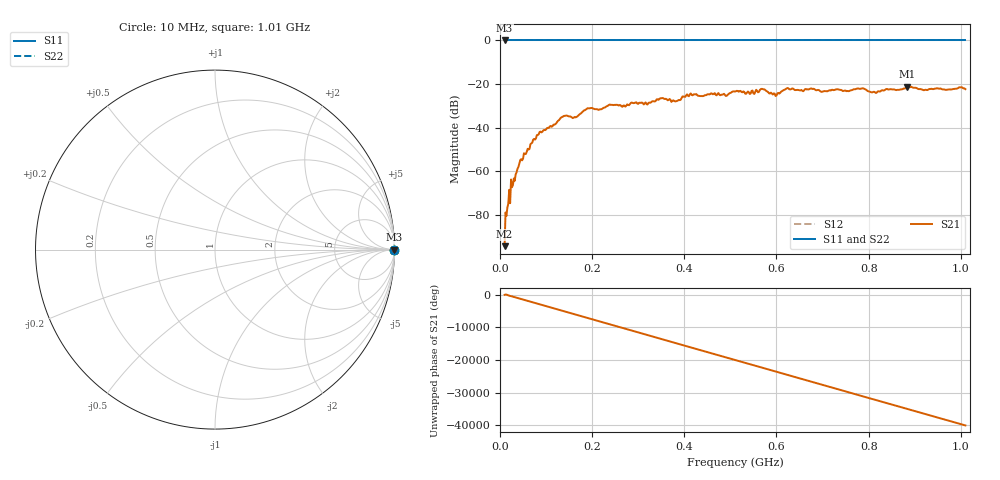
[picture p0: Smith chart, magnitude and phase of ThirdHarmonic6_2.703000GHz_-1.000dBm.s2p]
! 8/17/2025 6:29:13 AM
! C:\ANRITSUVNA\TEMP\TEMP.S2P
! CHANNEL.1
! TR.MEASUREMENT
! RAW.DATA
! RF.CORRECTION.OFF
! AVERAGING.OFF
! IF.BANDWIDTH: 5KHZ
! SWEEPTYPE:  FREQ.SWEEP(Linear)
! Reference Plane Port Info
! PORT:  PORT1  PORT2
! DISTANCE:  0  m  0  m
! TIME:  0  s  0  s
! PHASE.OFFSET:  0  deg.  0  deg.
! LOSS:  0  dB  0  dB
! REF.LOSS:  0  dB  0  dB
! REF.FREQ:  0  Hz  0  Hz
! Power Info
! POWER:  -20  dBm  -20  dBm
! EFF.POWER:  -20  dBm  -20  dBm
! SOURCE.ATTEN:  0  dB  0  dB
! TEST.ATTEN:  0  dB  0  dB
# GHZ S RI R 50.0
! FREQ.GHZ  S11RE  S11IM  S21RE  S21IM  S12RE  S12IM  S22RE  S22IM
!; PortSelection: Port_12
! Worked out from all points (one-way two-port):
!   501 points, 10 MHz to 1.01 GHz, reference 50 ohm
!   highest |S21| = -21.13 dB at 884 MHz (marker M1); lowest = -94.3 dB at 10 MHz (marker M2)
!   lowest |S11| = 0.0 dB at 10 MHz (marker M3)
!   |S11| at or under -10 dB: nowhere
!   |S22| runs from 0.0 to 0.0 dB; largest |S21 - S12| = 1.1
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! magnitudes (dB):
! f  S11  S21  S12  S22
! 10 MHz  0.0  -94.3  0.0  0.0
! 18 MHz  0.0  -74.8  0.0  0.0
! 28 MHz  0.0  -66.3  0.0  0.0
! 42 MHz  0.0  -56.4  0.0  0.0
! 70 MHz  0.0  -46.9  0.0  0.0
! 136 MHz  0.0  -35.0  0.0  0.0
! 162 MHz  0.0  -35.1  0.0  0.0
! 178 MHz  0.0  -32.9  0.0  0.0
! 344 MHz  0.0  -27.2  0.0  0.0
! 382 MHz  0.0  -27.9  0.0  0.0
! 410 MHz  0.0  -25.6  0.0  0.0
! 492 MHz  0.0  -25.4  0.0  0.0
! 510 MHz  0.0  -23.4  0.0  0.0
! 570 MHz  0.0  -22.3  0.0  0.0
! 596 MHz  0.0  -24.4  0.0  0.0
! 622 MHz  0.0  -22.0  0.0  0.0
! 678 MHz  0.0  -22.3  0.0  0.0
! 786 MHz  0.0  -22.0  0.0  0.0
! 814 MHz  0.0  -23.8  0.0  0.0
! 844 MHz  0.0  -22.5  0.0  0.0
! 884 MHz  0.0  -21.1  0.0  0.0
! 1.01 GHz  0.0  -22.3  0.0  0.0
